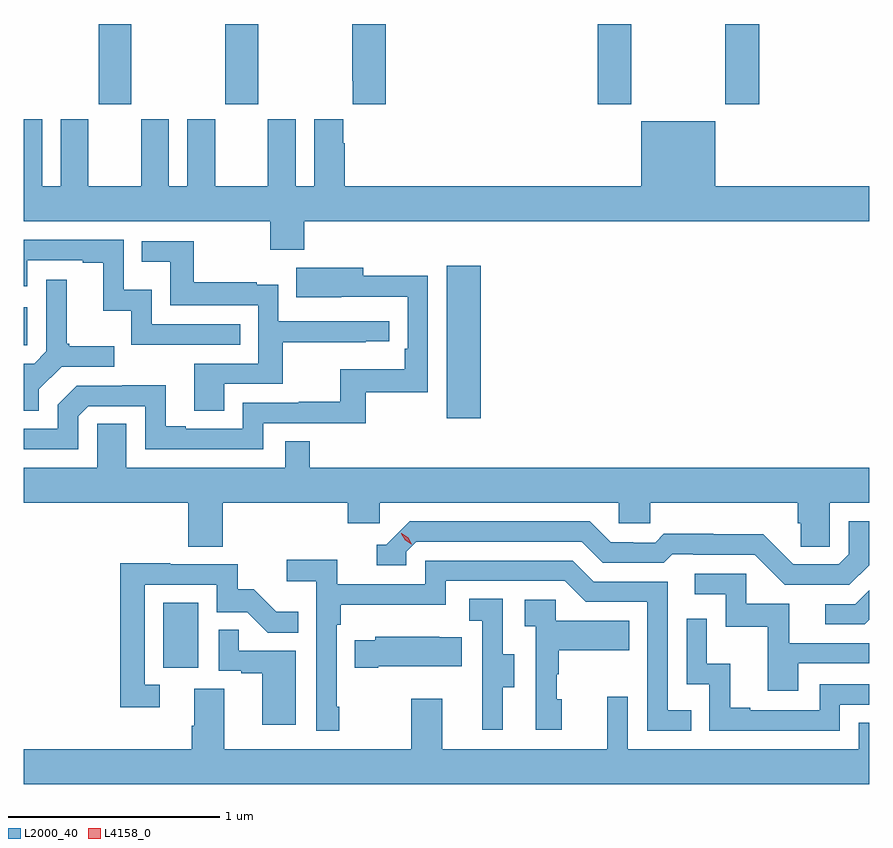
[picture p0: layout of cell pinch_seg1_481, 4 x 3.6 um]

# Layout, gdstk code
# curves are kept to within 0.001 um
import gdstk
lib = gdstk.Library(unit=1e-6, precision=1e-09)
def R(c, l, rs):  # rectangles x0, y0, x1, y1
    for r in rs: c.add(gdstk.rectangle(r[:2], r[2:], *l))
def P(c, l, *ps):  # polygons
    for p in ps: c.add(gdstk.Polygon(p, *l))
L2000_40 = (2000, 40)
L4158_0 = (4158, 0)

pinch_seg1_481 = lib.new_cell('pinch_seg1_481')
R(pinch_seg1_481, L2000_40, [(1090.394,524.31,1090.558,524.617), (1091.735,525.492,1091.896,526.213), (1089.734,525.837,1089.75,526.017), (1090.087,526.977,1090.242,527.357), (1090.687,526.977,1090.842,527.357), (1092.449,526.977,1092.609,527.357), (1093.054,526.977,1093.214,527.357)])
P(pinch_seg1_481, L2000_40, [(1091.447,527.357),(1091.287,527.357),(1091.287,527.089),(1091.291,527.089),(1091.291,526.977),(1091.447,526.977)],
  [(1091.06,526.424),(1093.734,526.424),(1093.734,526.588),(1093.006,526.588),(1093.006,526.897),(1092.656,526.897),(1092.656,526.588),(1091.252,526.588),(1091.252,526.793),(1091.245,526.793),(1091.245,526.906),(1091.108,526.906),(1091.108,526.588),(1091.02,526.588),(1091.02,526.906),(1090.889,526.906),(1090.889,526.588),(1090.639,526.588),(1090.639,526.906),(1090.508,526.906),(1090.508,526.588),(1090.42,526.588),(1090.42,526.906),(1090.289,526.906),(1090.289,526.588),(1090.039,526.588),(1090.039,526.906),(1089.908,526.906),(1089.908,526.588),(1089.82,526.588),(1089.82,526.906),(1089.734,526.906),(1089.734,526.424),(1090.9,526.424),(1090.9,526.289),(1091.06,526.289)],
  [(1090.757,525.936),(1090.338,525.936),(1090.338,526.099),(1090.206,526.099),(1090.206,526.335),(1089.734,526.335),(1089.734,526.116),(1089.75,526.116),(1089.75,526.239),(1090.013,526.239),(1090.013,526.227),(1090.109,526.227),(1090.109,526.001),(1090.242,526.001),(1090.242,525.84),(1090.757,525.84)],
  [(1090.681,525.654),(1090.958,525.654),(1090.958,525.85),(1091.351,525.85),(1091.351,525.855),(1091.464,525.855),(1091.464,525.951),(1090.938,525.951),(1090.938,526.123),(1090.835,526.123),(1090.835,526.135),(1090.537,526.135),(1090.537,526.329),(1090.291,526.329),(1090.291,526.232),(1090.426,526.232),(1090.426,526.026),(1090.842,526.026),(1090.842,525.75),(1090.541,525.75),(1090.541,525.526),(1090.681,525.526)],
  [(1089.99,525.501),(1090.038,525.549),(1090.308,525.549),(1090.308,525.345),(1090.866,525.345),(1090.866,525.468),(1091.353,525.468),(1091.353,525.615),(1091.646,525.615),(1091.646,526.166),(1091.341,526.166),(1091.341,526.204),(1091.023,526.204),(1091.023,526.064),(1091.55,526.065),(1091.55,525.82),(1091.537,525.82),(1091.537,525.724),(1091.232,525.724),(1091.232,525.569),(1091.035,525.569),(1091.035,525.564),(1090.77,525.564),(1090.77,525.441),(1090.501,525.441),(1090.501,525.454),(1090.405,525.454),(1090.405,525.647),(1090.2,525.647),(1090.2,525.645),(1089.984,525.645),(1089.894,525.555),(1089.894,525.441),(1089.734,525.441),(1089.734,525.345),(1089.99,525.345)],
  [(1089.805,525.628),(1089.912,525.735),(1090.162,525.735),(1090.162,525.832),(1089.949,525.832),(1089.949,525.844),(1089.937,525.844),(1089.937,526.147),(1089.84,526.147),(1089.84,525.807),(1089.783,525.75),(1089.734,525.75),(1089.734,525.526),(1089.805,525.526)],
  [(1090.676,525.092),(1091.267,525.092),(1091.267,524.994),(1091.418,524.994),(1091.418,525.092),(1092.549,525.092),(1092.549,524.994),(1092.699,524.994),(1092.699,525.092),(1093.397,525.092),(1093.397,524.994),(1093.411,524.994),(1093.411,524.884),(1093.548,524.884),(1093.548,525.092),(1093.734,525.092),(1093.734,525.256),(1091.087,525.256),(1091.087,525.383),(1090.971,525.383),(1090.971,525.256),(1090.219,525.256),(1090.219,525.464),(1090.08,525.464),(1090.08,525.256),(1089.734,525.256),(1089.734,525.092),(1090.511,525.092),(1090.511,524.884),(1090.676,524.884)],
  [(1093.734,524.796),(1093.734,525.003),(1093.638,525.003),(1093.638,524.847),(1093.59,524.799),(1093.374,524.799),(1093.232,524.941),(1092.996,524.941),(1092.996,524.944),(1092.763,524.944),(1092.721,524.901),(1092.618,524.901),(1092.618,524.904),(1092.511,524.904),(1092.412,525.003),(1091.559,525.003),(1091.448,524.892),(1091.405,524.892),(1091.405,524.796),(1091.544,524.796),(1091.544,524.859),(1091.592,524.907),(1092.375,524.907),(1092.474,524.808),(1092.763,524.808),(1092.802,524.847),(1092.901,524.847),(1092.901,524.844),(1093.194,524.844),(1093.335,524.703),(1093.641,524.703)],
  [(1091.227,524.125),(1091.214,524.125),(1091.214,524.513),(1091.234,524.513),(1091.234,524.609),(1091.73,524.609),(1091.73,524.721),(1092.294,524.721),(1092.393,524.622),(1092.684,524.622),(1092.684,524.013),(1092.893,524.013),(1092.893,524.109),(1092.78,524.109),(1092.78,524.718),(1092.43,524.718),(1092.331,524.817),(1091.634,524.817),(1091.634,524.706),(1091.216,524.706),(1091.216,524.822),(1090.977,524.822),(1090.977,524.72),(1091.118,524.72),(1091.118,524.013),(1091.227,524.013)],
  [(1090.378,524.229),(1090.305,524.229),(1090.305,524.703),(1090.647,524.703),(1090.647,524.574),(1090.791,524.574),(1090.889,524.476),(1091.033,524.476),(1091.033,524.575),(1090.929,524.575),(1090.822,524.682),(1090.746,524.682),(1090.746,524.799),(1090.427,524.799),(1090.427,524.804),(1090.189,524.804),(1090.189,524.124),(1090.378,524.124)],
  [(1093.399,524.331),(1093.734,524.331),(1093.734,524.427),(1093.357,524.427),(1093.357,524.613),(1093.152,524.613),(1093.152,524.754),(1092.909,524.754),(1092.909,524.658),(1093.056,524.658),(1093.056,524.505),(1093.255,524.505),(1093.255,524.202),(1093.399,524.202)],
  [(1093.734,524.537),(1093.734,524.676),(1093.668,524.61),(1093.527,524.61),(1093.527,524.517),(1093.714,524.517)],
  [(1092.001,524.218),(1092.055,524.218),(1092.055,524.373),(1092,524.373),(1092,524.636),(1091.841,524.636),(1091.841,524.533),(1091.904,524.533),(1091.904,524.229),(1091.903,524.229),(1091.903,524.016),(1092.001,524.016)],
  [(1092.28,524.16),(1092.255,524.16),(1092.255,524.279),(1092.265,524.279),(1092.265,524.393),(1092.599,524.393),(1092.599,524.533),(1092.252,524.533),(1092.252,524.631),(1092.105,524.631),(1092.105,524.507),(1092.156,524.507),(1092.156,524.016),(1092.28,524.016)],
  [(1093.596,524.136),(1093.734,524.136),(1093.734,524.232),(1093.5,524.232),(1093.5,524.109),(1093.171,524.109),(1093.171,524.121),(1093.076,524.121),(1093.076,524.33),(1092.966,524.33),(1092.966,524.542),(1092.87,524.542),(1092.87,524.232),(1092.978,524.232),(1092.978,524.013),(1093.596,524.013)],
  [(1091.02,524.391),(1090.751,524.391),(1090.751,524.489),(1090.656,524.489),(1090.656,524.295),(1090.763,524.295),(1090.763,524.283),(1090.862,524.283),(1090.862,524.04),(1091.02,524.04)],
  [(1091.41,524.318),(1091.807,524.318),(1091.807,524.455),(1091.699,524.455),(1091.699,524.458),(1091.397,524.458),(1091.397,524.44),(1091.299,524.44),(1091.299,524.311),(1091.41,524.311)],
  [(1093.734,524.051),(1093.686,524.051),(1093.686,523.924),(1092.591,523.924),(1092.591,524.173),(1092.494,524.173),(1092.494,523.924),(1091.713,523.924),(1091.713,524.164),(1091.566,524.164),(1091.566,523.924),(1090.681,523.924),(1090.681,524.21),(1090.541,524.21),(1090.541,524.036),(1090.529,524.036),(1090.529,523.924),(1089.734,523.924),(1089.734,523.76),(1093.734,523.76)])
P(pinch_seg1_481, L4158_0, [(1091.568,524.894),(1091.538,524.913),(1091.521,524.945),(1091.521,524.946),(1091.522,524.946),(1091.552,524.926),(1091.569,524.894),(1091.569,524.894)])

lib.write_gds('pinch_seg1_481.gds')
